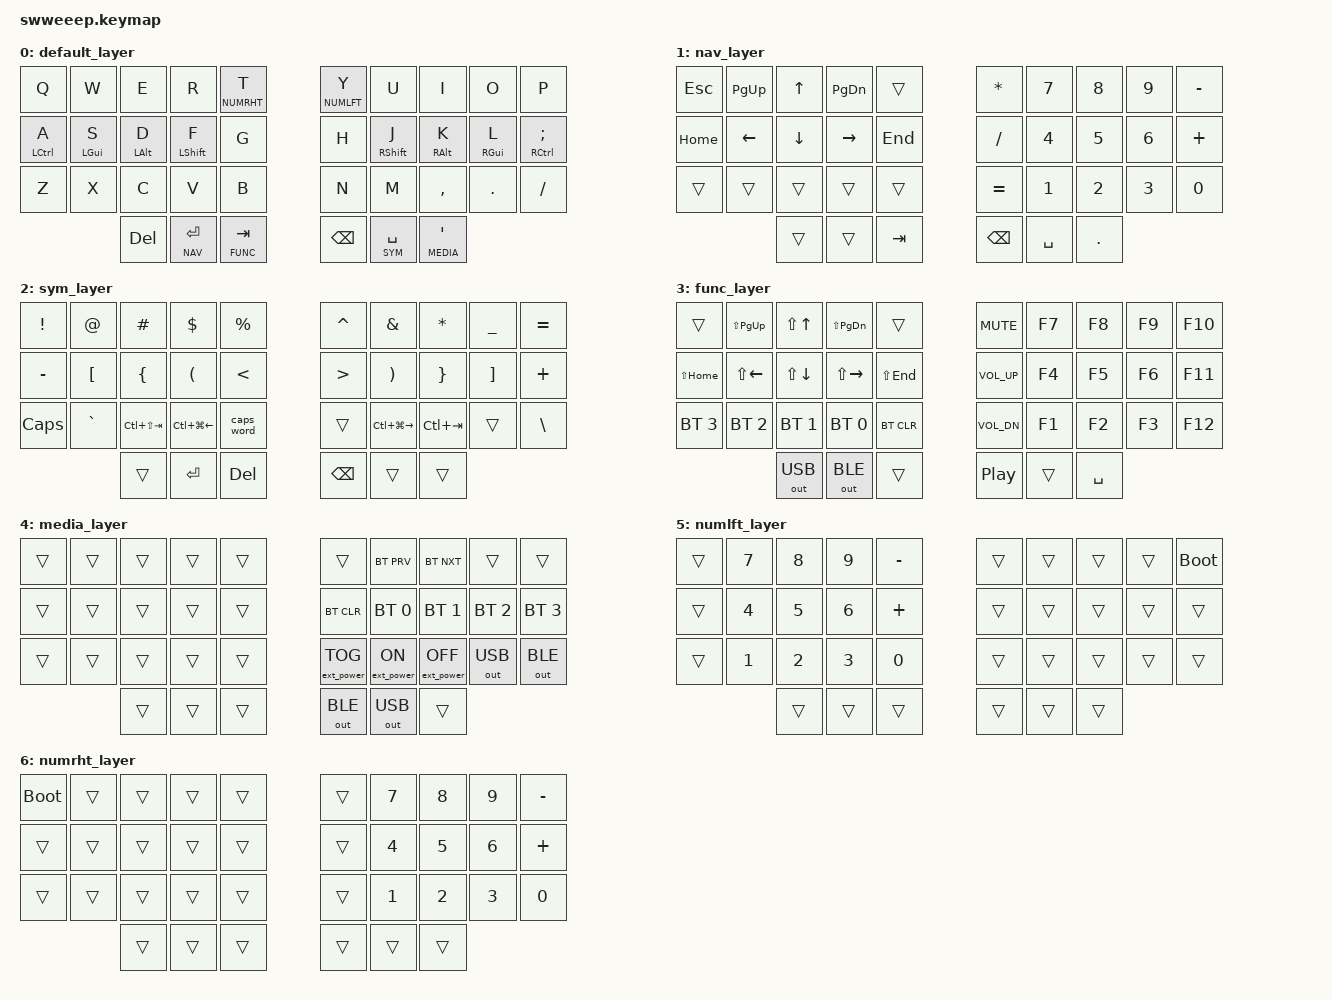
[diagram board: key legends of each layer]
#include <behaviors.dtsi>
#include <dt-bindings/zmk/keys.h>
#include <dt-bindings/zmk/bt.h>
#include <dt-bindings/zmk/ext_power.h>
#include <dt-bindings/zmk/outputs.h>

#define DEFAULT 0
#define NAV     1
#define SYM     2
#define FUNC    3
#define MEDIA   4
#define NUMLFT  5
#define NUMRHT  6

&caps_word {
    continue-list = <UNDERSCORE MINUS>;
};

/ {
    combos {
        compatible = "zmk,combos";
        combo_undo {
            timeout-ms = <50>;
            key-positions = <20 21>;
            bindings = <&kp LC(Z)>;
        };
    };
};

/ {

    behaviors {
        hm: homerow_mods {
            compatible = "zmk,behavior-hold-tap";
            #binding-cells = <2>;
            tapping-term-ms = <200>;
            flavor = "tap-preferred";
            bindings = <&kp>, <&kp>;
        };
        hs: homerow_shift {
            compatible = "zmk,behavior-hold-tap";
            #binding-cells = <2>;
            tapping-term-ms = <175>;
            flavor = "balanced";
            bindings = <&kp>, <&kp>;
        };
    };

   keymap {
        compatible = "zmk,keymap";

        default_layer {
            bindings = <
    &kp Q        &kp W        &kp E       &kp R         &lt NUMRHT T                                   &lt NUMLFT Y  &kp U        &kp I         &kp O       &kp P
    &hm LCTL A   &hm LGUI S   &hm LALT D  &hs LSHIFT F  &kp G                                          &kp H         &hs RSHIFT J &hm RALT K    &hm RGUI L  &hm RCTL SEMI
    &kp Z        &kp X        &kp C       &kp V         &kp B                                          &kp N         &kp M        &kp COMMA     &kp DOT     &kp FSLH
                                          &kp DEL       &lt NAV RET  &lt FUNC TAB           &kp BSPC   &lt SYM SPACE &lt MEDIA SQT
            >;
        };

        nav_layer {
            bindings = <
    &kp ESC      &kp PG_UP    &kp UP      &kp PG_DN     &trans                                      &kp ASTRK     &kp N7       &kp N8        &kp N9      &kp MINUS
    &kp HOME     &kp LEFT     &kp DOWN    &kp RIGHT     &kp END                                     &kp FSLH      &kp N4       &kp N5        &kp N6      &kp PLUS
    &trans       &trans       &trans      &trans        &trans                                      &kp EQUAL     &kp N1       &kp N2        &kp N3      &kp N0
                                          &trans        &trans       &kp TAB       &kp BSPC         &kp SPACE     &kp DOT
            >;
        };

        sym_layer {
            bindings = <
    &kp EXCL     &kp AT       &kp HASH        &kp DLLR         &kp PRCNT                                   &kp CARET     &kp AMPS          &kp ASTRK     &kp UNDER   &kp EQUAL
    &kp MINUS    &kp LBKT     &kp LBRC        &kp LPAR         &kp LT                                      &kp GT        &kp RPAR          &kp RBRC      &kp RBKT    &kp PLUS
    &kp CAPS     &kp GRAVE    &kp LC(LS(TAB)) &kp LC(LG(LEFT)) &caps_word                                  &trans        &kp LC(LG(RIGHT)) &kp LC(TAB)   &trans      &kp BSLH
                                              &trans           &kp RET       &kp DEL        &kp BSPC       &trans        &trans
            >;
        };

        func_layer {
            bindings = <
    &trans       &kp LS(PG_UP) &kp LS(UP)   &kp LS(PG_DN) &trans                                         &kp C_MUTE       &kp F7       &kp F8        &kp F9      &kp F10
    &kp LS(HOME) &kp LS(LEFT)  &kp LS(DOWN) &kp LS(RIGHT) &kp LS(END)                                    &kp K_VOL_UP     &kp F4       &kp F5        &kp F6      &kp F11
    &bt BT_SEL 3 &bt BT_SEL 2  &bt BT_SEL 1 &bt BT_SEL 0  &bt BT_CLR                                     &kp K_VOL_DN     &kp F1       &kp F2        &kp F3      &kp F12
                                            &out OUT_USB  &out OUT_BLE  &trans         &kp C_PLAY_PAUSE  &trans           &kp SPACE
            >;
        };

        media_layer {
            bindings = <
    &trans       &trans       &trans        &trans            &trans                                      &trans             &bt BT_PRV        &bt BT_NXT         &trans         &trans
    &trans       &trans       &trans        &trans            &trans                                      &bt BT_CLR         &bt BT_SEL 0      &bt BT_SEL 1       &bt BT_SEL 2   &bt BT_SEL 3
    &trans       &trans       &trans        &trans            &trans                                      &ext_power EP_TOG  &ext_power EP_ON  &ext_power EP_OFF  &out OUT_USB   &out OUT_BLE
                                            &trans            &trans        &trans       &out OUT_BLE     &out OUT_USB       &trans         
            >;
        };

        numlft_layer {
            bindings = <
    &trans   &kp N7       &kp N8       &kp N9    &kp MINUS                                              &trans      &trans      &trans      &trans      &bootloader
    &trans   &kp N4       &kp N5       &kp N6    &kp PLUS                                               &trans      &trans      &trans      &trans      &trans
    &trans   &kp N1       &kp N2       &kp N3    &kp N0                                                 &trans      &trans      &trans      &trans      &trans
                                       &trans    &trans      &trans           &trans          &trans      &trans
            >;
        };

        numrht_layer {
            bindings = <
    &bootloader  &trans       &trans       &trans        &trans                                      &trans      &kp N7       &kp N8        &kp N9      &kp MINUS
    &trans       &trans       &trans       &trans        &trans                                      &trans      &kp N4       &kp N5        &kp N6      &kp PLUS
    &trans       &trans       &trans       &trans        &trans                                      &trans      &kp N1       &kp N2        &kp N3      &kp N0
                                           &trans        &trans        &trans         &trans         &trans      &trans
            >;
        };
    };
};;
